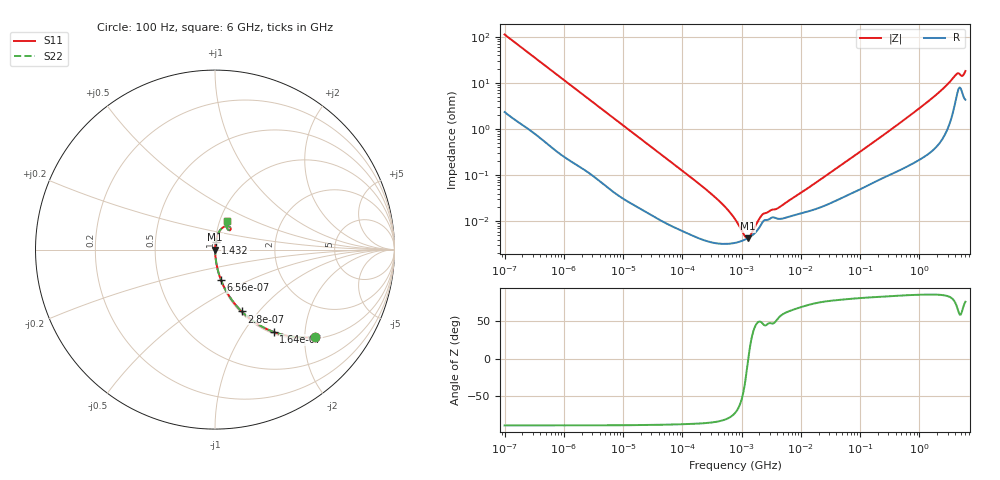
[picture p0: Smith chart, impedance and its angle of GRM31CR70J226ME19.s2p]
!Murata Part Number: GRM31CR70J226ME19
!These Parameters are Measured in Series Mode Connection
!Data Generated on Mar 30, 2021
!  o--ll--o
!Port1  Port2
!  o------o
!Operation Temp=25[degC], DC Bias Voltage=0[V]
!Freq. Start=100[Hz] Stop=6[GHz] 401[Steps]
# Hz S RI R 50
!Freq.(Hz) S11(Real) S11(Imag) S21(Real) S21(Imag) S12(Real) S12(Imag) S22(Real) S22(Imag)
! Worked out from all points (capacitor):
!   401 points, 100 Hz to 6 GHz, reference 50 ohm
!   read as one part in series: C = 14.1 uF near 109 Hz
!   lowest |Z| = 4.3 mohm at 1.268 MHz (marker M1)
!   series resonance near 1.298 MHz, so ESL is about 1.1 nH
!   S11 on the Smith chart (normalised r, x): 100 Hz: 1.05, -2.25; 164 Hz: 1.03, -1.39; 280 Hz: 1.02, -0.82; 656 Hz: 1.01, -0.35; 1.432 GHz: 1.01, +0.08; 6 GHz: 1.09, +0.35
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100  0.5585 -0.4863  0.4415 0.4863  0.4415 0.4863  0.5585 -0.4863
164  0.3278 -0.459  0.6722 0.459  0.6722 0.459  0.3278 -0.459
280  0.1482 -0.3443  0.8518 0.3443  0.8518 0.3443  0.1482 -0.3443
656  0.0336 -0.1698  0.9664 0.1698  0.9664 0.1698  0.0336 -0.1698
2008  0.0048 -0.0581  0.9952 0.0581  0.9952 0.0581  0.0048 -0.0581
40335  0.000118 -0.00305  0.9999 0.00305  0.9999 0.00305  0.000118 -0.00305
316350  3.48e-05 -0.00038  1 0.00038  1 0.00038  3.48e-05 -0.00038
517687  3.23e-05 -0.000208  1 0.000208  1 0.000208  3.23e-05 -0.000208
774597  3.4e-05 -0.000106  1 0.000106  1 0.000106  3.4e-05 -0.000106
885955  3.54e-05 -7.7e-05  1 7.7e-05  1 7.7e-05  3.54e-05 -7.7e-05
1267578  4.28e-05 -4.6e-06  1 4.6e-06  1 4.6e-06  4.28e-05 -4.6e-06
1813585  6.19e-05 6.74e-05  0.9999 -6.74e-05  0.9999 -6.74e-05  6.19e-05 6.74e-05
2372521  0.000103 0.000105  0.9999 -0.000105  0.9999 -0.000105  0.000103 0.000105
4246196  0.000113 0.000162  0.9999 -0.000162  0.9999 -0.000162  0.000113 0.000162
1.555665e7  0.000174 0.00058  0.9998 -0.00058  0.9998 -0.00058  0.000174 0.00058
3.124326e8  0.00109 0.00913  0.9989 -0.00913  0.9989 -0.00913  0.00109 0.00913
1.431855e9  0.0045 0.0401  0.9955 -0.0401  0.9955 -0.0401  0.0045 0.0401
2.562649e9  0.0123 0.0751  0.9877 -0.0751  0.9877 -0.0751  0.0123 0.0751
4.009986e9  0.0517 0.1277  0.9483 -0.1277  0.9483 -0.1277  0.0517 0.1277
4.385646e9  0.0751 0.13  0.9249 -0.13  0.9249 -0.13  0.0751 0.13
5.245841e9  0.0735 0.1096  0.9265 -0.1096  0.9265 -0.1096  0.0735 0.1096
6e9  0.0682 0.1575  0.9318 -0.1575  0.9318 -0.1575  0.0682 0.1575
